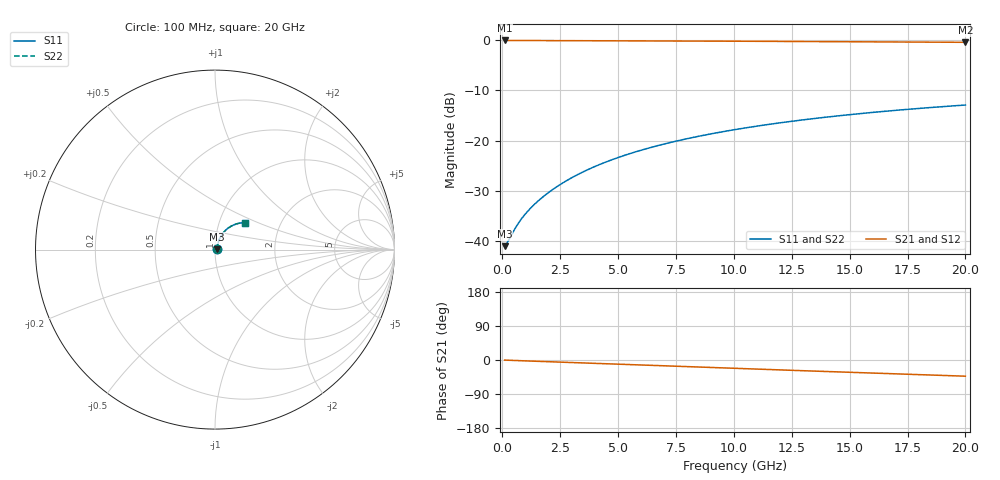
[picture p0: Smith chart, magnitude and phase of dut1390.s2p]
! Touchstone file exported from HFSS 2026.1.0
!  File:  C:/ffzhzh/LocalFiles/Ansys_Project_Files/temp_train_BSMRDL_1390_1783179710_43440.aedt
!  Generated:  11:42:58 PM Jul  4, 2026
!  Design:  BSMRDL
!  Project:  temp_train_BSMRDL_1390_1783179710_43440
! Variables:
!  h_bsmrdl = 2.45um
!  h_ox = 20um
!  h_rdl = 5um
!  h_sub = 80um
!  h_tmrdl = 5um
!  h_tsv = 80um
!  h_via = 3um
!  l_bsmrdl = 741.15um
!  l_sub = 1141.15um
!  l_tmrdl = 200um
!  m_sub = 200um
!  pitch = 18.42um
!  r_tsv = 6um
!  s_tmrdl = 10um
!  w_bsmrdl = 12.18um
!  w_sub = 500um
!  w_tmrdl = 12um
!  x_tsv_center1 = 206um
!  x_tsv_center2 = 959.33um
!  x_tsv_center3 = 1171.33um
!  x_tsv_center4 = 1924.66um
!  x_tsv_center5 = 2136.66um
!  x_tsv_center6 = 2889.99um
# GHz S MA R 50.000000
! Terminal data exported
! Port[1] = BSM_RDL1_1_T1
! Port[2] = BSM_RDL1_1_T2
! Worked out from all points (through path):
!   200 points, 100 MHz to 20 GHz, reference 50 ohm
!   highest |S21| = -0.08 dB at 100 MHz (marker M1); lowest = -0.4 dB at 20 GHz (marker M2)
!   group delay of S21, straight-line fit = 5.93 ps
!   lowest |S11| = -40.9 dB at 100 MHz (marker M3), VSWR 1.02, Z = 50.9 + j0.178 ohm
!   |S11| at or under -10 dB: start of sweep to end of sweep
!   |S22| runs from -40.9 to -12.9 dB; largest |S21 - S12| = 2.1e-15
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0.1  0.008984 11.2  0.9912 -0.2  0.9912 -0.2  0.008984 11.2
! Gamma 0 0 0 0
! Port Impedance 50 0 50 0
0.2  0.009621 21.0  0.991 -0.5  0.991 -0.5  0.009621 21.0
0.6  0.01404 43.1  0.9899 -1.4  0.9899 -1.4  0.01404 43.1
0.8  0.01645 48.3  0.9894 -1.9  0.9894 -1.9  0.01645 48.3
1.1  0.02 53.6  0.9887 -2.5  0.9887 -2.5  0.02 53.6
1.4  0.02352 57.3  0.9882 -3.2  0.9882 -3.2  0.02352 57.3
1.8  0.02826 60.8  0.9877 -4.1  0.9877 -4.1  0.02826 60.8
2.3  0.03432 63.7  0.9871 -5.2  0.9871 -5.2  0.03432 63.7
2.9  0.04173 65.8  0.9865 -6.5  0.9865 -6.5  0.04174 65.8
3.5  0.04925 66.9  0.9859 -7.8  0.9859 -7.8  0.04926 66.9
4.2  0.05808 67.4  0.985 -9.3  0.985 -9.3  0.05808 67.4
5  0.06816 67.2  0.9839 -11.1  0.9839 -11.1  0.06817 67.2
5.9  0.07943 66.6  0.9826 -13.1  0.9826 -13.1  0.07944 66.5
6.8  0.09057 65.5  0.981 -15.0  0.981 -15.0  0.09057 65.5
7.6  0.1003 64.4  0.9795 -16.8  0.9795 -16.8  0.1003 64.4
8.4  0.1099 63.2  0.978 -18.5  0.978 -18.5  0.1099 63.1
10.1  0.1297 60.3  0.9743 -22.1  0.9743 -22.1  0.1297 60.2
11.7  0.1476 57.3  0.9706 -25.5  0.9706 -25.5  0.1476 57.3
13.4  0.1656 54.1  0.9665 -29.1  0.9665 -29.1  0.1656 54.1
15  0.1818 51.1  0.9625 -32.5  0.9625 -32.5  0.1818 51.0
16.7  0.1979 47.8  0.9582 -36.0  0.9582 -36.0  0.1979 47.8
20  0.2264 41.5  0.95 -42.7  0.95 -42.7  0.2264 41.4
